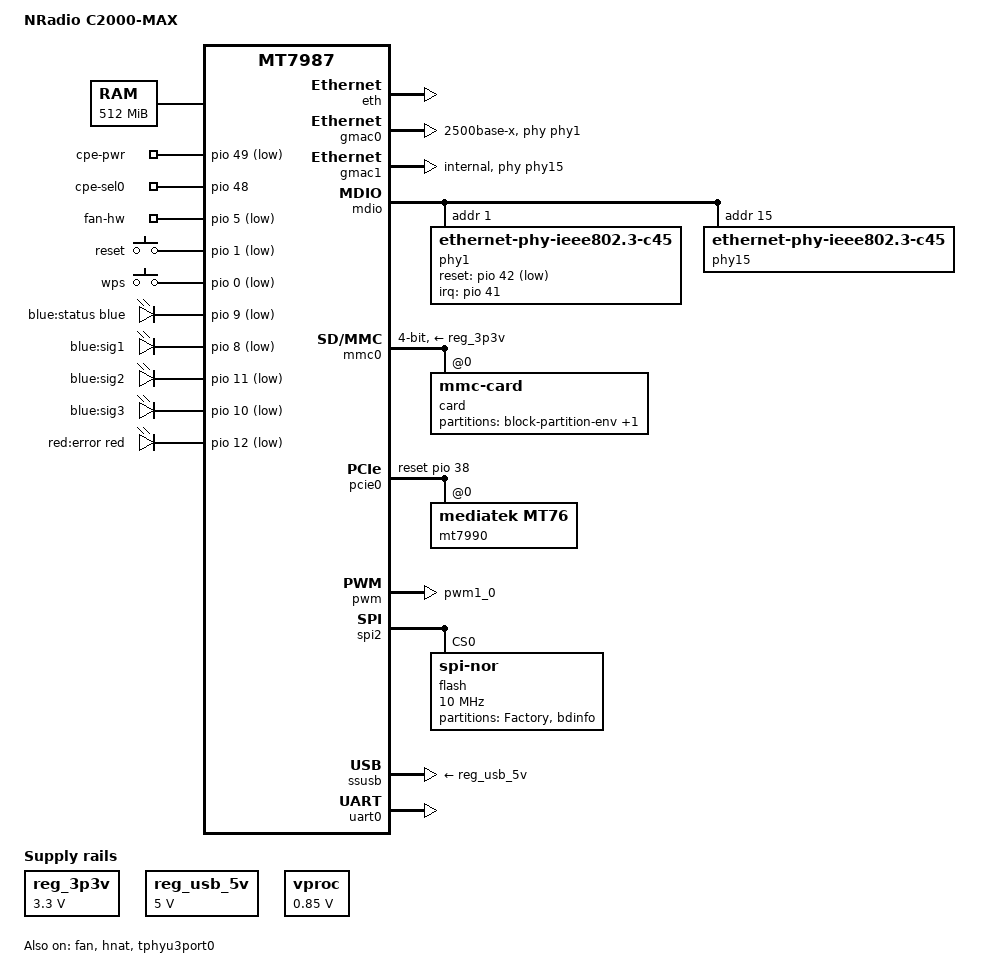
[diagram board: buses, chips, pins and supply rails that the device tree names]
// SPDX-License-Identifier: (GPL-2.0 OR MIT)
/* NRadio C2000-MAX support reconstructed from the reference SD image. */

/dts-v1/;
#include <dt-bindings/gpio/gpio.h>
#include <dt-bindings/input/input.h>
#include <dt-bindings/interrupt-controller/arm-gic.h>
#include <dt-bindings/leds/common.h>

#include "mt7987b.dtsi"

/ {
	model = "NRadio C2000-MAX";
	compatible = "nradio,c2000-max", "mediatek,mt7987b", "mediatek,mt7987";

	/delete-node/ memory;

	memory@40000000 {
		device_type = "memory";
		/* The retail C2000-MAX is populated with 512 MiB DDR3. */
		reg = <0 0x40000000 0 0x20000000>;
	};

	aliases {
		serial0 = &uart0;
		label-mac-device = &gmac1;
		led-boot = &led_status;
		led-failsafe = &led_error;
		led-running = &led_status;
		led-upgrade = &led_status;
	};

	chosen {
		bootargs = "console=ttyS0,115200n1 earlycon=uart8250,mmio32,0x11000000 root=PARTLABEL=rootfs rootwait rootfstype=squashfs,f2fs pci=pcie_bus_perf cpufreq.default_governor=performance";
		stdout-path = "serial0:115200n8";
	};

	gpio-export {
		compatible = "gpio-export";
		#size-cells = <0>;

		modem-power {
			gpio-export,name = "cpe-pwr";
			/* gpio-export values are logical after GPIO_ACTIVE_LOW is
			 * applied: 0 is deasserted/off and 1 is asserted/on. Keep the
			 * modem off until c2000max-sim restores the saved mux. */
			gpio-export,output = <0>;
			gpios = <&pio 49 GPIO_ACTIVE_LOW>;
		};

		sim-mux {
			gpio-export,name = "cpe-sel0";
			gpio-export,output = <1>;
			gpios = <&pio 48 GPIO_ACTIVE_HIGH>;
		};

		fan-power {
			gpio-export,name = "fan-hw";
			gpio-export,output = <0>;
			gpios = <&pio 5 GPIO_ACTIVE_LOW>;
		};
	};

	gpio-keys {
		compatible = "gpio-keys";

		button-reset {
			label = "reset";
			linux,code = <KEY_RESTART>;
			gpios = <&pio 1 GPIO_ACTIVE_LOW>;
			debounce-interval = <10>;
		};

		button-wps {
			label = "wps";
			linux,code = <KEY_WPS_BUTTON>;
			gpios = <&pio 0 GPIO_ACTIVE_LOW>;
			debounce-interval = <10>;
		};
	};

	leds {
		compatible = "gpio-leds";

		led_status: led-status {
			label = "blue:status";
			color = <LED_COLOR_ID_BLUE>;
			function = LED_FUNCTION_STATUS;
			gpios = <&pio 9 GPIO_ACTIVE_LOW>;
		};

		led-signal-1 {
			label = "blue:sig1";
			gpios = <&pio 8 GPIO_ACTIVE_LOW>;
		};

		led-signal-2 {
			label = "blue:sig2";
			gpios = <&pio 11 GPIO_ACTIVE_LOW>;
		};

		led-signal-3 {
			label = "blue:sig3";
			gpios = <&pio 10 GPIO_ACTIVE_LOW>;
		};

		led_error: led-error {
			label = "red:error";
			color = <LED_COLOR_ID_RED>;
			function = LED_FUNCTION_FAULT;
			gpios = <&pio 12 GPIO_ACTIVE_LOW>;
		};
	};

	reg_3p3v: regulator-3p3v {
		compatible = "regulator-fixed";
		regulator-name = "fixed-3.3V";
		regulator-min-microvolt = <3300000>;
		regulator-max-microvolt = <3300000>;
		regulator-boot-on;
		regulator-always-on;
	};

	reg_usb_5v: regulator-usb-5v {
		compatible = "regulator-fixed";
		regulator-name = "usb-5v";
		regulator-min-microvolt = <5000000>;
		regulator-max-microvolt = <5000000>;
		regulator-boot-on;
		regulator-always-on;
	};
};

/* MT7987B requires the CPU supply link before the MediaTek cpufreq driver
 * can create policy0.  The shared mt7987b.dtsi already removes CPU2/CPU3.
 */
&cpu0 {
	proc-supply = <&vproc>;
};

&cpu1 {
	proc-supply = <&vproc>;
};

&eth {
	status = "okay";
};

&fan {
	/* Matches the vendor firmware: PWM1, 50 us period, three levels. */
	cooling-levels = <0 128 255>;
	pwms = <&pwm 1 50000 0>;
	status = "okay";
};

&gmac0 {
	nvmem-cells = <&macaddr_factory_4 0>;
	nvmem-cell-names = "mac-address";
	phy-handle = <&phy1>;
	phy-mode = "2500base-x";
	status = "okay";
};

&gmac1 {
	nvmem-cells = <&macaddr_factory_a 0>;
	nvmem-cell-names = "mac-address";
	phy-handle = <&phy15>;
	phy-mode = "internal";
	status = "okay";
};

/*
 * The internal MTK port is LAN (eth1); the MT5700-CN NCM interface is the
 * external USB WAN (eth2).  chasey's RxPPD path reinjects that external WAN
 * traffic through the real LAN GMAC, so no synthetic third GMAC is needed.
 */
&hnat {
	mtketh-wan = "eth2";
	mtketh-lan = "eth1";
	mtketh-lan2 = "/";
	mtketh-ppd = "eth1";
	mtketh-rx-ppd = "rxppd";
	mtketh-max-gmac = <2>;
	mtketh-ppe-num = <2>;
	ext-devices = "eth2", "eth3", "eth4", "eth5", "eth6", "eth7", "eth8", "eth9",
		      "usb0", "usb1", "wwan0", "wwan0_1", "wwan0_2",
		      "rmnet0", "rmnet_data0", "rmnet_data1", "rmnet_mhi0",
		      "mhi_hwip0", "mhi0";
	ext-devices-prefix = "wwan", "usb", "eth", "rmnet", "mhi";
	status = "okay";
};

&mdio {
	phy1: ethernet-phy@1 {
		compatible = "ethernet-phy-ieee802.3-c45";
		reg = <1>;
		interrupt-parent = <&pio>;
		interrupts = <41 IRQ_TYPE_LEVEL_LOW>;
		reset-assert-us = <100000>;
		reset-deassert-us = <100000>;
		reset-gpios = <&pio 42 GPIO_ACTIVE_LOW>;
	};

	phy15: ethernet-phy@f {
		compatible = "ethernet-phy-ieee802.3-c45";
		reg = <15>;
		interrupt-parent = <&gic>;
		interrupts = <GIC_SPI 286 IRQ_TYPE_LEVEL_HIGH>;
		pinctrl-names = "i2p5gbe-led";
		pinctrl-0 = <&i2p5gbe_led0_pins>;
	};
};

&mmc0 {
	#address-cells = <1>;
	#size-cells = <0>;
	pinctrl-names = "default", "state_uhs";
	pinctrl-0 = <&sd_pins_default>;
	pinctrl-1 = <&sd_pins_uhs>;
	bus-width = <4>;
	max-frequency = <48000000>;
	cap-sd-highspeed;
	vmmc-supply = <&reg_3p3v>;
	vqmmc-supply = <&reg_3p3v>;
	no-mmc;
	no-sdio;
	status = "okay";

	card@0 {
		compatible = "mmc-card";
		reg = <0>;

		block {
			compatible = "block-device";

			partitions {
				block-partition-env {
					partname = "u-boot-env";
					nvmem-layout {
						compatible = "u-boot,env";
					};
				};

				block-partition-factory {
					partname = "factory";

					nvmem-layout {
						compatible = "fixed-layout";
						#address-cells = <1>;
						#size-cells = <1>;

						eeprom_factory_0: eeprom@0 {
							reg = <0x0 0x1e00>;
						};

						macaddr_factory_4: macaddr@4 {
							compatible = "mac-base";
							reg = <0x4 0x6>;
							#nvmem-cell-cells = <1>;
						};

						macaddr_factory_a: macaddr@a {
							compatible = "mac-base";
							reg = <0xa 0x6>;
							#nvmem-cell-cells = <1>;
						};
					};
				};
			};
		};
	};
};

&pcie0 {
	pinctrl-names = "default";
	pinctrl-0 = <&pcie0_pins>;
	reset-gpios = <&pio 38 GPIO_ACTIVE_HIGH>;
	status = "okay";

	pcie@0,0 {
		reg = <0x0000 0 0 0 0>;
		#address-cells = <3>;
		#size-cells = <2>;

		mt7990@0,0 {
			compatible = "mediatek,mt76";
			reg = <0x0000 0 0 0 0>;
			#address-cells = <1>;
			#size-cells = <0>;

			/* MT7990 + MT7976 dual-band layout, as used by GL-MT3600BE. */
			ieee80211-freq-limit = <2400000 2500000>,
					       <5170000 5835000>;
			nvmem-cells = <&eeprom_spi_factory_0>;
			nvmem-cell-names = "eeprom";
		};
	};
};

&pcie1 {
	status = "disabled";
};

&pio {
	pwm_fan_pins: pwm-fan-pins {
		mux {
			function = "pwm";
			groups = "pwm1_0";
		};
	};
};

&pwm {
	pinctrl-names = "default";
	pinctrl-0 = <&pwm_fan_pins>;
	status = "okay";
};

/*
 * The factory firmware boots from the board's 32 MiB SPI-NOR.  The SD image
 * exposes only the unit-specific Factory partition and the first 64 KiB of
 * bdinfo.  Do not register the factory firmware/rootfs partitions: MTD
 * splitters can otherwise mistake them for the active SD root filesystem and
 * overlay.
 *
 * Identity reads do not need the vendor firmware's 52 MHz quad-I/O calibration
 * path.  Keep this deliberately conservative at 10 MHz, single-I/O and
 * read-only so a failed flash probe cannot affect the SD storage path.
 */
&spi2 {
	compatible = "mediatek,ipm-spi-quad", "mediatek,spi-ipm";
	pinctrl-names = "default";
	pinctrl-0 = <&spi2_flash_pins>;
	#address-cells = <1>;
	#size-cells = <0>;
	status = "okay";

	flash@0 {
		compatible = "jedec,spi-nor";
		reg = <0>;
		spi-max-frequency = <10000000>;

		partitions {
			compatible = "fixed-partitions";
			#address-cells = <1>;
			#size-cells = <1>;

			partition@50000 {
				label = "Factory";
				reg = <0x050000 0x100000>;
				read-only;

				nvmem-layout {
					compatible = "fixed-layout";
					#address-cells = <1>;
					#size-cells = <1>;

					eeprom_spi_factory_0: eeprom@0 {
						reg = <0x0 0x1e00>;
					};
				};
			};

			partition@150000 {
				label = "bdinfo";
				reg = <0x150000 0x010000>;
				read-only;
			};
		};
	};
};

&ssusb {
	vusb33-supply = <&reg_3p3v>;
	vbus-supply = <&reg_usb_5v>;
	status = "okay";
};

&tphyu3port0 {
	status = "okay";
};

&uart0 {
	pinctrl-names = "default";
	pinctrl-0 = <&uart0_pins>;
	status = "okay";
};

/* The shared MT7987 DTS has a decimal-place typo (8.5 V).  MT7987B uses a
 * fixed 0.85 V CPU rail for all OPPs, including the supported 2.0 GHz OPP. */
&vproc {
	regulator-min-microvolt = <850000>;
	regulator-max-microvolt = <850000>;
};
